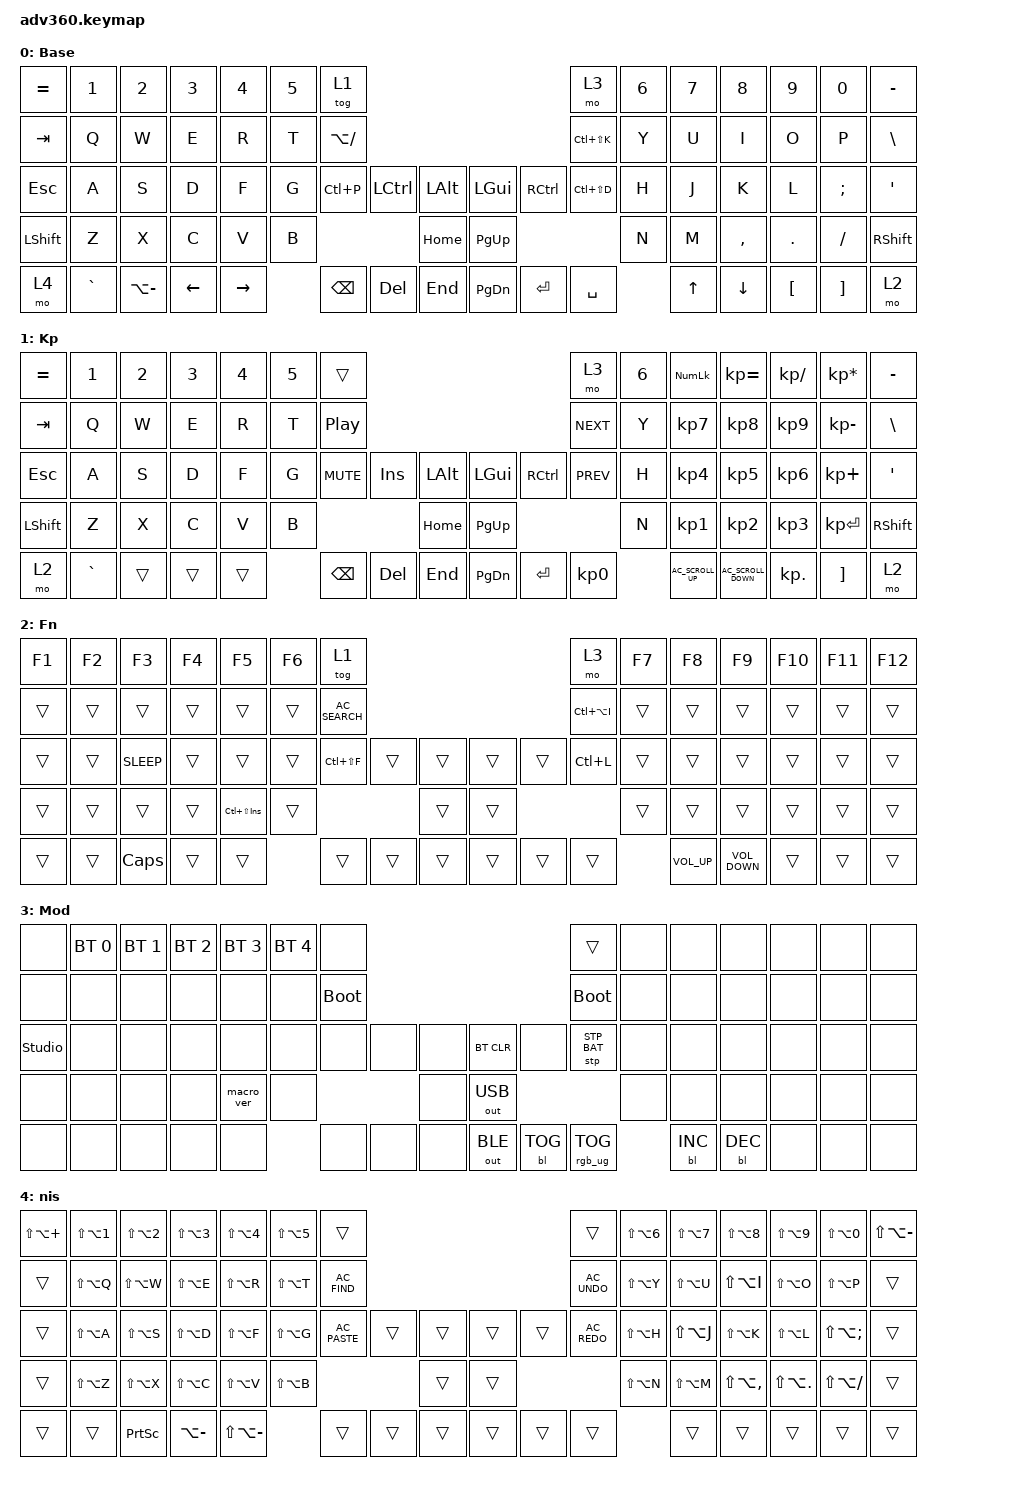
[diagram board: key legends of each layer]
#include <dt-bindings/zmk/stp.h>
#include <behaviors.dtsi>
#include <dt-bindings/zmk/backlight.h>
#include <dt-bindings/zmk/bt.h>
#include <dt-bindings/zmk/keys.h>
#include <dt-bindings/zmk/outputs.h>
#include <dt-bindings/zmk/rgb.h>

/ {
    behaviors {
        #include "macros.dtsi"
      #include "version.dtsi"

        hm: homerow_mods {
            compatible = "zmk,behavior-hold-tap";
            label = "HOMEROW_MODS";
            #binding-cells = <2>;
            tapping-term-ms = <200>;
            quick_tap_ms = <175>;
            flavor = "tap-preferred";
            bindings = <&kp>, <&kp>;
        };
    };

    keymap {
        compatible = "zmk,keymap";

        default_layer {
            display-name = "Base";
            bindings = <
&kp EQUAL  &kp N1     &kp N2         &kp N3    &kp N4     &kp N5  &tog 1                                                        &mo 3          &kp N6  &kp N7  &kp N8     &kp N9    &kp N0    &kp MINUS
&kp TAB    &kp Q      &kp W          &kp E     &kp R      &kp T   &kp LA(SLASH)                                                 &kp LC(LS(K))  &kp Y   &kp U   &kp I      &kp O     &kp P     &kp BSLH
&kp ESC    &kp A      &kp S          &kp D     &kp F      &kp G   &kp LC(P)      &kp LCTRL  &kp LALT      &kp LGUI   &kp RCTRL  &kp LC(LS(D))  &kp H   &kp J   &kp K      &kp L     &kp SEMI  &kp SQT
&kp LSHFT  &kp Z      &kp X          &kp C     &kp V      &kp B                             &kp HOME      &kp PG_UP                            &kp N   &kp M   &kp COMMA  &kp DOT   &kp FSLH  &kp RSHFT
&mo 4      &kp GRAVE  &kp LA(MINUS)  &kp LEFT  &kp RIGHT          &kp BSPC       &kp DEL    &kp END       &kp PG_DN  &kp ENTER  &kp SPACE              &kp UP  &kp DOWN   &kp LBKT  &kp RBKT  &mo 2
            >;
        };

        keypad {
            display-name = "Kp";
            bindings = <
&kp EQUAL  &kp N1     &kp N2  &kp N3  &kp N4  &kp N5  &trans                                                   &mo 3       &kp N6  &kp KP_NUM          &kp KP_EQUAL          &kp KP_DIVIDE  &kp KP_MULTIPLY  &kp MINUS
&kp TAB    &kp Q      &kp W   &kp E   &kp R   &kp T   &kp C_PP                                                 &kp C_NEXT  &kp Y   &kp KP_N7           &kp KP_N8             &kp KP_N9      &kp KP_MINUS     &kp BSLH
&kp ESC    &kp A      &kp S   &kp D   &kp F   &kp G   &kp C_MUTE  &kp INS  &kp LALT      &kp LGUI   &kp RCTRL  &kp C_PREV  &kp H   &kp KP_N4           &kp KP_N5             &kp KP_N6      &kp KP_PLUS      &kp SQT
&kp LSHFT  &kp Z      &kp X   &kp C   &kp V   &kp B                        &kp HOME      &kp PG_UP                         &kp N   &kp KP_N1           &kp KP_N2             &kp KP_N3      &kp KP_ENTER     &kp RSHFT
&mo 2      &kp GRAVE  &trans  &trans  &trans          &kp BSPC    &kp DEL  &kp END       &kp PG_DN  &kp ENTER  &kp KP_N0           &kp C_AC_SCROLL_UP  &kp C_AC_SCROLL_DOWN  &kp KP_DOT     &kp RBKT         &mo 2
            >;
        };

        fn {
            display-name = "Fn";
            bindings = <
&kp F1  &kp F2  &kp F3       &kp F4  &kp F5              &kp F6  &tog 1                                               &mo 3          &kp F7  &kp F8           &kp F9             &kp F10  &kp F11  &kp F12
&trans  &trans  &trans       &trans  &trans              &trans  &kp C_AC_SEARCH                                      &kp LC(LA(I))  &trans  &trans           &trans             &trans   &trans   &trans
&trans  &trans  &kp C_SLEEP  &trans  &trans              &trans  &kp LC(LS(F))    &trans  &trans      &trans  &trans  &kp LC(L)      &trans  &trans           &trans             &trans   &trans   &trans
&trans  &trans  &trans       &trans  &kp LC(LS(INSERT))  &trans                           &trans      &trans                         &trans  &trans           &trans             &trans   &trans   &trans
&trans  &trans  &kp CAPS     &trans  &trans                      &trans           &trans  &trans      &trans  &trans  &trans                 &kp C_VOLUME_UP  &kp C_VOLUME_DOWN  &trans   &trans   &trans
            >;
        };

        mod {
            display-name = "Mod";
            bindings = <
&none           &bt BT_SEL 0  &bt BT_SEL 1  &bt BT_SEL 2  &bt BT_SEL 3  &bt BT_SEL 4  &none                                                    &trans           &none  &none       &none       &none  &none  &none
&none           &none         &none         &none         &none         &none         &bootloader                                              &bootloader      &none  &none       &none       &none  &none  &none
&studio_unlock  &none         &none         &none         &none         &none         &none        &none  &none      &bt BT_CLR    &none       &stp STP_BAT     &none  &none       &none       &none  &none  &none
&none           &none         &none         &none         &macro_ver    &none                             &none      &out OUT_USB                               &none  &none       &none       &none  &none  &none
&none           &none         &none         &none         &none                       &none        &none  &none      &out OUT_BLE  &bl BL_TOG  &rgb_ug RGB_TOG         &bl BL_INC  &bl BL_DEC  &none  &none  &none
            >;
        };

        nis {
            bindings = <
&kp LS(LA(PLUS))  &kp LS(LA(NUMBER_1))  &kp LS(LA(NUMBER_2))  &kp LS(LA(NUMBER_3))  &kp LS(LA(NUMBER_4))  &kp LS(LA(NUMBER_5))  &trans                                              &trans         &kp LS(LA(NUMBER_6))  &kp LS(LA(NUMBER_7))  &kp LS(LA(NUMBER_8))  &kp LS(LA(NUMBER_9))  &kp LS(LA(NUMBER_0))   &kp LS(LA(MINUS))
&trans            &kp LS(LA(Q))         &kp LS(LA(W))         &kp LS(LA(E))         &kp LS(LA(R))         &kp LS(LA(T))         &kp C_AC_FIND                                       &kp C_AC_UNDO  &kp LS(LA(Y))         &kp LS(LA(U))         &kp LS(LA(I))         &kp LS(LA(O))         &kp LS(LA(P))          &trans
&trans            &kp LS(LA(A))         &kp LS(LA(S))         &kp LS(LA(D))         &kp LS(LA(F))         &kp LS(LA(G))         &kp C_AC_PASTE  &trans  &trans      &trans  &trans  &kp C_AC_REDO  &kp LS(LA(H))         &kp LS(LA(J))         &kp LS(LA(K))         &kp LS(LA(L))         &kp LS(LA(SEMICOLON))  &trans
&trans            &kp LS(LA(Z))         &kp LS(LA(X))         &kp LS(LA(C))         &kp LS(LA(V))         &kp LS(LA(B))                                 &trans      &trans                         &kp LS(LA(N))         &kp LS(LA(M))         &kp LS(LA(COMMA))     &kp LS(LA(PERIOD))    &kp LS(LA(SLASH))      &trans
&trans            &trans                &kp PRINTSCREEN       &kp LA(MINUS)         &kp LS(LA(MINUS))                           &trans          &trans  &trans      &trans  &trans  &trans                               &trans                &trans                &trans                &trans                 &trans
            >;
        };
    };
};
